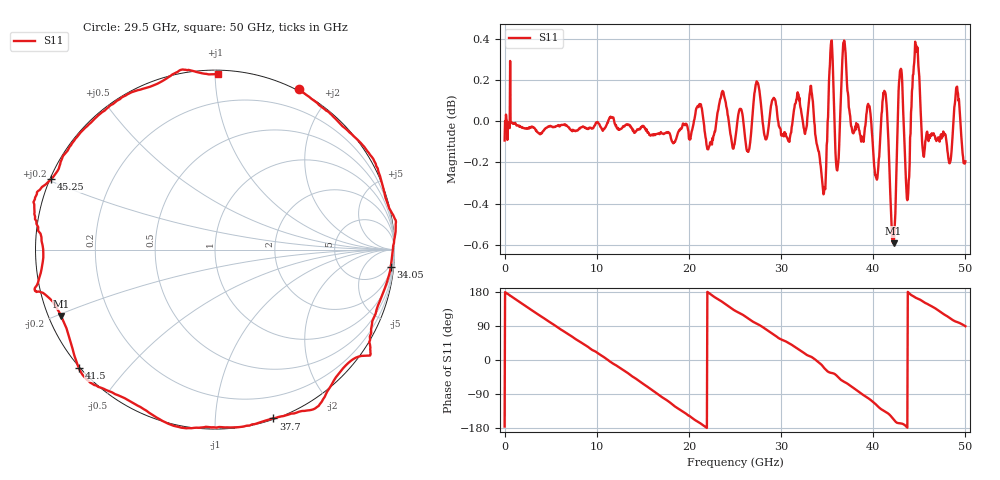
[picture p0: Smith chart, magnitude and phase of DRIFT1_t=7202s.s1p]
!Created with skrf (http://scikit-rf.org).
# Hz S RI R 50.0
!freq ReS11 ImS11
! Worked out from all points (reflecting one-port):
!   1001 points, 300 kHz to 50 GHz, reference 50 ohm
!   lowest |S11| = -0.6 dB at 42.2 GHz (marker M1), VSWR 29.27, Z = 1.78 - j10.3 ohm
!   phase of S11 starts at -176 deg and turns -815 deg over the sweep
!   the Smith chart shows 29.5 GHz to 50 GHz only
!   S11 on the Smith chart (normalised r, x): 29.5 GHz: -0.02, +1.66; 34.05 GHz: 3, -20; 37.7 GHz: 0.01, -1.40; 41.5 GHz: -0.00, -0.37; 45.25 GHz: 0.00, +0.21; 50 GHz: 0.02, +1.02
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300000  -0.9863 -0.077
1.500291e9  -0.9056 0.4182
3.30028e9  -0.5809 0.809
6.250262e9  0.2015 0.9774
9.500243e9  0.8907 0.4456
1.250022e10  0.9325 -0.3481
1.580021e10  0.2401 -0.9626
1.73502e10  -0.2097 -0.9708
1.875019e10  -0.596 -0.7941
2.155017e10  -0.9921 -0.1367
2.350016e10  -0.9215 0.4236
2.500015e10  -0.6369 0.7567
2.735014e10  -0.1076 1.017
2.950012e10  0.4691 0.8926
3.125011e10  0.7826 0.6227
3.30501e10  0.9958 0.1854
3.40501e10  0.9786 -0.0976
3.520009e10  0.8656 -0.5446
3.750008e10  0.3817 -0.9274
3.770007e10  0.3247 -0.9407
3.955006e10  -0.216 -0.9851
4.150005e10  -0.7591 -0.6585
4.220005e10  -0.8578 -0.3693
4.290004e10  -1.002 -0.2309
4.375004e10  -0.9574 0.00272
4.525003e10  -0.914 0.3918
4.770001e10  -0.4979 0.8584
5e10  0.0156 0.9777
